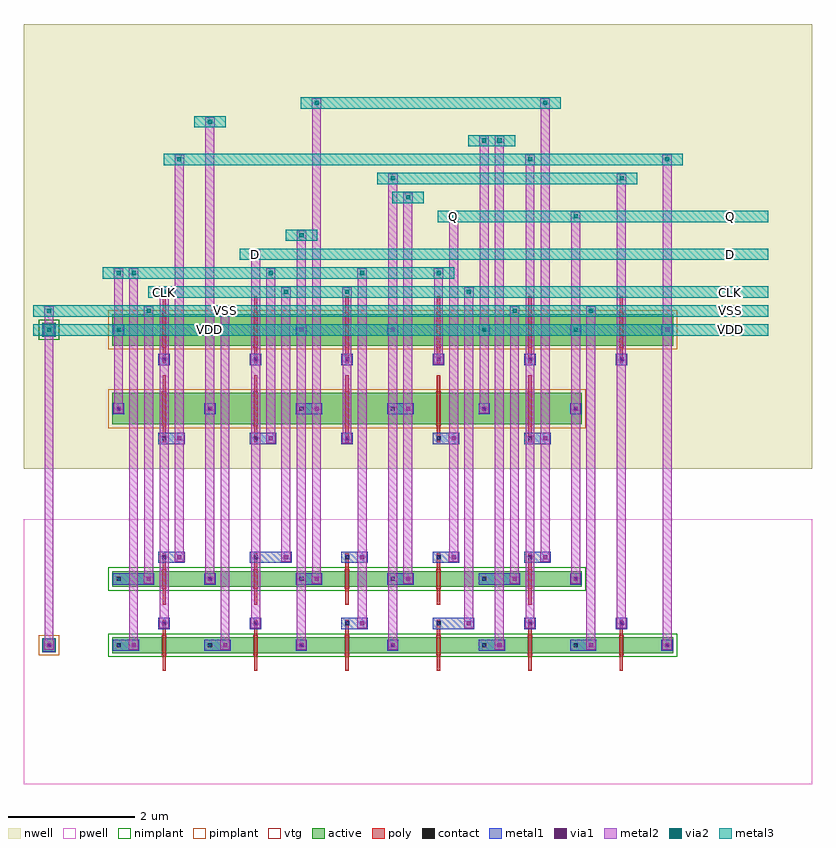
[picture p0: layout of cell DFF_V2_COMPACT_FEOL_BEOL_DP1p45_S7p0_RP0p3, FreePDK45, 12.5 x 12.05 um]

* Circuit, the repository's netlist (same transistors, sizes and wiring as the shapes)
* cell DFF_V2_COMPACT_FEOL_BEOL_DP1p45_S7p0_RP0p3
* pin CLK
* pin D
* pin Q,VDD,VSS
.SUBCKT DFF_V2_COMPACT_FEOL_BEOL_DP1p45_S7p0_RP0p3 2 3 8
* net 2 CLK
* net 3 D
* net 8 Q,VDD,VSS
* device instance $1 r0 *1 1.925,7 PMOS_VTG
M$1 8 2 8 8 PMOS_VTG L=0.05U W=0.5U AS=0.4P AD=0.35P PS=2.6U PD=1.9U
* device instance $2 r0 *1 3.375,7 PMOS_VTG
M$2 1 3 8 8 PMOS_VTG L=0.05U W=0.5U AS=0.35P AD=0.35P PS=1.9U PD=1.9U
* device instance $3 r0 *1 4.825,7 PMOS_VTG
M$3 4 2 1 8 PMOS_VTG L=0.05U W=0.5U AS=0.35P AD=0.35P PS=1.9U PD=1.9U
* device instance $4 r0 *1 6.275,7 PMOS_VTG
M$4 8 8 4 8 PMOS_VTG L=0.05U W=0.5U AS=0.35P AD=0.35P PS=1.9U PD=1.9U
* device instance $5 r0 *1 7.725,7 PMOS_VTG
M$5 8 7 8 8 PMOS_VTG L=0.05U W=1U AS=0.75P AD=0.7P PS=4.5U PD=3.8U
* device instance $6 r0 *1 9.175,7 PMOS_VTG
M$6 7 4 8 8 PMOS_VTG L=0.05U W=0.5U AS=0.35P AD=0.4P PS=1.9U PD=2.6U
* device instance $8 r0 *1 3.375,5.75 PMOS_VTG
M$8 5 8 8 8 PMOS_VTG L=0.05U W=0.5U AS=0.35P AD=0.35P PS=1.9U PD=1.9U
* device instance $9 r0 *1 4.825,5.75 PMOS_VTG
M$9 6 2 5 8 PMOS_VTG L=0.05U W=0.5U AS=0.35P AD=0.35P PS=1.9U PD=1.9U
* device instance $10 r0 *1 6.275,5.75 PMOS_VTG
M$10 8 8 6 8 PMOS_VTG L=0.05U W=0.5U AS=0.35P AD=0.35P PS=1.9U PD=1.9U
* device instance $11 r0 *1 7.725,5.75 PMOS_VTG
M$11 8 5 8 8 PMOS_VTG L=0.05U W=0.5U AS=0.35P AD=0.4P PS=1.9U PD=2.6U
* device instance $12 r0 *1 1.925,2 NMOS_VTG
M$12 8 2 8 8 NMOS_VTG L=0.05U W=0.25U AS=0.2P AD=0.175P PS=2.1U PD=1.65U
* device instance $13 r0 *1 3.375,2 NMOS_VTG
M$13 1 3 8 8 NMOS_VTG L=0.05U W=0.25U AS=0.175P AD=0.175P PS=1.65U PD=1.65U
* device instance $14 r0 *1 4.825,2 NMOS_VTG
M$14 4 8 1 8 NMOS_VTG L=0.05U W=0.25U AS=0.175P AD=0.175P PS=1.65U PD=1.65U
* device instance $15 r0 *1 6.275,2 NMOS_VTG
M$15 8 2 4 8 NMOS_VTG L=0.05U W=0.25U AS=0.175P AD=0.175P PS=1.65U PD=1.65U
* device instance $16 r0 *1 7.725,2 NMOS_VTG
M$16 8 7 8 8 NMOS_VTG L=0.05U W=0.5U AS=0.375P AD=0.35P PS=3.75U PD=3.3U
* device instance $17 r0 *1 9.175,2 NMOS_VTG
M$17 7 4 8 8 NMOS_VTG L=0.05U W=0.25U AS=0.175P AD=0.2P PS=1.65U PD=2.1U
* device instance $19 r0 *1 3.375,3.05 NMOS_VTG
M$19 5 2 8 8 NMOS_VTG L=0.05U W=0.25U AS=0.175P AD=0.175P PS=1.65U PD=1.65U
* device instance $20 r0 *1 4.825,3.05 NMOS_VTG
M$20 6 8 5 8 NMOS_VTG L=0.05U W=0.25U AS=0.175P AD=0.175P PS=1.65U PD=1.65U
* device instance $21 r0 *1 6.275,3.05 NMOS_VTG
M$21 8 8 6 8 NMOS_VTG L=0.05U W=0.25U AS=0.175P AD=0.175P PS=1.65U PD=1.65U
* device instance $22 r0 *1 7.725,3.05 NMOS_VTG
M$22 8 5 8 8 NMOS_VTG L=0.05U W=0.25U AS=0.175P AD=0.2P PS=1.65U PD=2.1U
.ENDS DFF_V2_COMPACT_FEOL_BEOL_DP1p45_S7p0_RP0p3

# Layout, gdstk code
import gdstk
lib = gdstk.Library(unit=1e-6, precision=5e-10)
def R(c, l, rs):  # rectangles x0, y0, x1, y1
    for r in rs: c.add(gdstk.rectangle(r[:2], r[2:], *l))
def A(c, l, x, y, w, h, nx, ny, dx, dy):  # array of equal rectangles
    R(c, l, [(x+i*dx, y+j*dy, x+i*dx+w, y+j*dy+h) for i in range(nx) for j in range(ny)])
def P(c, l, *ps):  # polygons
    for p in ps: c.add(gdstk.Polygon(p, *l))
active = (1, 0)
pwell = (2, 0)
nwell = (3, 0)
nimplant = (4, 0)
pimplant = (5, 0)
vtg = (6, 0)
poly = (9, 0)
contact = (10, 0)
metal1 = (11, 0)
via1 = (12, 0)
metal2 = (13, 0)
via2 = (14, 0)
metal3 = (15, 0)

dff_v2_compact_feol_beol = lib.new_cell('DFF_V2_COMPACT_FEOL_BEOL_DP1p45_S7p0_RP0p3')
R(dff_v2_compact_feol_beol, active, [(1.1,1.875,10,2.125), (-0.01,1.89,0.21,2.11), (1.1,2.925,8.55,3.175), (1.1,5.5,8.55,6), (1.1,6.75,10,7.25), (-0.01,6.89,0.21,7.11)])
R(dff_v2_compact_feol_beol, pwell, [(-0.3,-0.2,12.2,4)])
R(dff_v2_compact_feol_beol, nwell, [(-0.3,4.8,12.2,11.85)])
R(dff_v2_compact_feol_beol, nimplant, [(1.04,1.815,10.06,2.185), (1.04,2.865,8.61,3.235), (-0.06,6.84,0.26,7.16)])
R(dff_v2_compact_feol_beol, pimplant, [(-0.06,1.84,0.26,2.16), (1.04,5.44,8.61,6.06), (1.04,6.69,10.06,7.31)])
A(dff_v2_compact_feol_beol, vtg, 1.89, 1.845, 0.07, 0.31, 6, 1, 1.45, 0)
A(dff_v2_compact_feol_beol, vtg, 1.89, 2.895, 0.07, 0.31, 5, 1, 1.45, 0)
A(dff_v2_compact_feol_beol, vtg, 1.89, 5.47, 0.07, 0.56, 5, 1, 1.45, 0)
A(dff_v2_compact_feol_beol, vtg, 1.89, 6.72, 0.07, 0.56, 6, 1, 1.45, 0)
A(dff_v2_compact_feol_beol, poly, 1.9, 1.595, 0.05, 0.81, 6, 1, 1.45, 0)
A(dff_v2_compact_feol_beol, poly, 1.9, 2.645, 0.05, 0.81, 5, 1, 1.45, 0)
A(dff_v2_compact_feol_beol, poly, 1.9, 5.22, 0.05, 1.06, 5, 1, 1.45, 0)
A(dff_v2_compact_feol_beol, poly, 1.9, 6.47, 0.05, 1.06, 6, 1, 1.45, 0)
A(dff_v2_compact_feol_beol, contact, 1.17, 1.97, 0.065, 0.065, 7, 2, 1.45, 5)
A(dff_v2_compact_feol_beol, contact, 1.895, 2.315, 0.065, 0.065, 6, 2, 1.45, 4.185)
A(dff_v2_compact_feol_beol, contact, 1.17, 3.02, 0.065, 0.065, 6, 2, 1.45, 2.7)
A(dff_v2_compact_feol_beol, contact, 1.895, 3.365, 0.065, 0.065, 5, 2, 1.45, 1.885)
R(dff_v2_compact_feol_beol, contact, [(0.07,1.97,0.135,2.035), (0.07,6.97,0.135,7.035)])
A(dff_v2_compact_feol_beol, metal1, 4.825, 3.305, 0.24, 0.18, 3, 1, 1.45, 0)
R(dff_v2_compact_feol_beol, metal1, [(0,1.9,0.2,2.1), (0.01,1.91,0.19,2.09), (1.11,1.91,1.29,2.09), (1.2,1.91,1.44,2.09), (1.35,1.91,1.53,2.09), (2.56,1.91,2.74,2.09), (2.65,1.91,2.89,2.09), (2.8,1.91,2.98,2.09), (4.01,1.91,4.19,2.09), (4.01,1.91,4.19,2.09), (5.46,1.91,5.64,2.09), (5.46,1.91,5.64,2.09), (6.91,1.91,7.09,2.09), (7,1.91,7.24,2.09), (7.15,1.91,7.33,2.09), (8.36,1.91,8.54,2.09), (8.45,1.91,8.69,2.09), (8.6,1.91,8.78,2.09), (9.81,1.91,9.99,2.09), (9.81,1.91,9.99,2.09), (1.835,2.255,2.015,2.435), (1.835,2.255,2.015,2.435), (3.285,2.255,3.465,2.435), (3.285,2.255,3.465,2.435), (4.735,2.255,4.915,2.435), (4.825,2.255,5.065,2.435), (4.975,2.255,5.155,2.435), (6.185,2.255,6.365,2.435), (6.275,2.255,6.755,2.435), (6.665,2.255,6.845,2.435), (7.635,2.255,7.815,2.435), (7.635,2.255,7.815,2.435), (9.085,2.255,9.265,2.435), (9.085,2.255,9.265,2.435), (1.11,2.96,1.29,3.14), (1.2,2.96,1.68,3.14), (1.59,2.96,1.77,3.14), (2.56,2.96,2.74,3.14), (2.56,2.96,2.74,3.14), (4.01,2.96,4.19,3.14), (4.1,2.96,4.34,3.14), (4.25,2.96,4.43,3.14), (5.46,2.96,5.64,3.14), (5.55,2.96,5.79,3.14), (5.7,2.96,5.88,3.14), (6.91,2.96,7.09,3.14), (7,2.96,7.48,3.14), (7.39,2.96,7.57,3.14), (8.36,2.96,8.54,3.14), (8.36,2.96,8.54,3.14), (1.835,3.305,2.015,3.485), (1.925,3.305,2.165,3.485), (2.075,3.305,2.255,3.485), (3.285,3.305,3.465,3.485), (3.375,3.305,3.855,3.485), (3.765,3.305,3.945,3.485), (4.735,3.305,4.915,3.485), (4.975,3.305,5.155,3.485), (6.185,3.305,6.365,3.485), (6.425,3.305,6.605,3.485), (7.635,3.305,7.815,3.485), (7.875,3.305,8.055,3.485), (1.835,5.19,2.015,5.37), (1.925,5.19,2.165,5.37), (2.075,5.19,2.255,5.37), (3.285,5.19,3.465,5.37), (3.375,5.19,3.615,5.37), (3.525,5.19,3.705,5.37), (4.735,5.19,4.915,5.37), (4.735,5.19,4.915,5.37), (6.185,5.19,6.365,5.37), (6.275,5.19,6.515,5.37), (6.425,5.19,6.605,5.37), (7.635,5.19,7.815,5.37), (7.725,5.19,7.965,5.37), (7.875,5.19,8.055,5.37), (1.11,5.66,1.29,5.84), (1.11,5.66,1.29,5.84), (2.56,5.66,2.74,5.84), (2.56,5.66,2.74,5.84), (4.01,5.66,4.19,5.84), (4.1,5.66,4.34,5.84), (4.25,5.66,4.43,5.84), (5.46,5.66,5.64,5.84), (5.55,5.66,5.79,5.84), (5.7,5.66,5.88,5.84), (6.91,5.66,7.09,5.84), (6.91,5.66,7.09,5.84), (8.36,5.66,8.54,5.84), (8.36,5.66,8.54,5.84), (1.835,6.44,2.015,6.62), (1.835,6.44,2.015,6.62), (3.285,6.44,3.465,6.62), (3.285,6.44,3.465,6.62), (4.735,6.44,4.915,6.62), (4.735,6.44,4.915,6.62), (6.185,6.44,6.365,6.62), (6.185,6.44,6.365,6.62), (7.635,6.44,7.815,6.62), (7.635,6.44,7.815,6.62), (9.085,6.44,9.265,6.62), (9.085,6.44,9.265,6.62), (0,6.9,0.2,7.1), (0.01,6.91,0.19,7.09), (1.11,6.91,1.29,7.09), (1.11,6.91,1.29,7.09), (2.56,6.91,2.74,7.09), (2.56,6.91,2.74,7.09), (4.01,6.91,4.19,7.09), (4.01,6.91,4.19,7.09), (5.46,6.91,5.64,7.09), (5.46,6.91,5.64,7.09), (6.91,6.91,7.09,7.09), (6.91,6.91,7.09,7.09), (8.36,6.91,8.54,7.09), (8.36,6.91,8.54,7.09), (9.81,6.91,9.99,7.09), (9.81,6.91,9.99,7.09)])
A(dff_v2_compact_feol_beol, via1, 3.345, 2.315, 0.065, 0.065, 3, 1, 1.69, 0)
A(dff_v2_compact_feol_beol, via1, 5.035, 3.365, 0.065, 0.065, 3, 1, 1.45, 0)
A(dff_v2_compact_feol_beol, via1, 1.895, 6.5, 0.065, 0.065, 6, 1, 1.45, 0)
A(dff_v2_compact_feol_beol, via1, 1.17, 6.97, 0.065, 0.065, 7, 1, 1.45, 0)
R(dff_v2_compact_feol_beol, via1, [(0.07,1.97,0.135,2.035), (1.41,1.97,1.475,2.035), (2.86,1.97,2.925,2.035), (4.07,1.97,4.135,2.035), (5.52,1.97,5.585,2.035), (7.21,1.97,7.275,2.035), (8.66,1.97,8.725,2.035), (9.87,1.97,9.935,2.035), (1.895,2.315,1.96,2.38), (7.695,2.315,7.76,2.38), (9.145,2.315,9.21,2.38), (1.65,3.02,1.715,3.085), (2.62,3.02,2.685,3.085), (4.31,3.02,4.375,3.085), (5.76,3.02,5.825,3.085), (7.45,3.02,7.515,3.085), (8.42,3.02,8.485,3.085), (2.135,3.365,2.2,3.43), (3.825,3.365,3.89,3.43), (2.135,5.25,2.2,5.315), (3.585,5.25,3.65,5.315), (4.795,5.25,4.86,5.315), (6.485,5.25,6.55,5.315), (7.935,5.25,8,5.315), (1.17,5.72,1.235,5.785), (2.62,5.72,2.685,5.785), (4.31,5.72,4.375,5.785), (5.76,5.72,5.825,5.785), (6.97,5.72,7.035,5.785), (8.42,5.72,8.485,5.785), (0.07,6.97,0.135,7.035)])
A(dff_v2_compact_feol_beol, metal2, 3.3, 2.27, 0.15, 0.15, 3, 1, 1.69, 0)
A(dff_v2_compact_feol_beol, metal2, 4.99, 3.32, 0.15, 0.15, 3, 1, 1.45, 0)
A(dff_v2_compact_feol_beol, metal2, 1.85, 6.455, 0.15, 0.15, 6, 1, 1.45, 0)
A(dff_v2_compact_feol_beol, metal2, 2.575, 6.925, 0.15, 0.15, 4, 1, 1.45, 0)
R(dff_v2_compact_feol_beol, metal2, [(0.025,1.925,0.175,2.075), (1.365,1.925,1.515,2.075), (2.815,1.925,2.965,2.075), (4.025,1.925,4.175,2.075), (5.475,1.925,5.625,2.075), (7.165,1.925,7.315,2.075), (8.615,1.925,8.765,2.075), (9.825,1.925,9.975,2.075), (0.03,2,0.17,7.3), (1.37,2,1.51,7.9), (2.82,2,2.96,7.3), (4.03,2,4.17,8.5), (5.48,2,5.62,9.4), (7.17,2,7.31,10), (8.62,2,8.76,7.3), (9.83,2,9.97,9.7), (1.85,2.27,2,2.42), (7.65,2.27,7.8,2.42), (9.1,2.27,9.25,2.42), (1.855,2.345,1.995,7.6), (3.305,2.345,3.445,8.2), (4.995,2.345,5.135,7.9), (6.685,2.345,6.825,7.6), (7.655,2.345,7.795,9.7), (9.105,2.345,9.245,9.4), (1.605,2.975,1.755,3.125), (2.575,2.975,2.725,3.125), (4.265,2.975,4.415,3.125), (5.715,2.975,5.865,3.125), (7.405,2.975,7.555,3.125), (8.375,2.975,8.525,3.125), (1.61,3.05,1.75,7.3), (2.58,3.05,2.72,10.3), (4.27,3.05,4.41,10.6), (5.72,3.05,5.86,9.1), (7.41,3.05,7.55,7.3), (8.38,3.05,8.52,8.8), (2.09,3.32,2.24,3.47), (3.78,3.32,3.93,3.47), (2.095,3.395,2.235,9.7), (3.785,3.395,3.925,7.6), (4.995,3.395,5.135,7.9), (6.445,3.395,6.585,8.8), (7.895,3.395,8.035,10.6), (2.09,5.205,2.24,5.355), (3.54,5.205,3.69,5.355), (4.75,5.205,4.9,5.355), (6.44,5.205,6.59,5.355), (7.89,5.205,8.04,5.355), (2.095,5.28,2.235,9.7), (3.545,5.28,3.685,7.9), (4.755,5.28,4.895,7.6), (6.445,5.28,6.585,8.8), (7.895,5.28,8.035,10.6), (1.125,5.675,1.275,5.825), (2.575,5.675,2.725,5.825), (4.265,5.675,4.415,5.825), (5.715,5.675,5.865,5.825), (6.925,5.675,7.075,5.825), (8.375,5.675,8.525,5.825), (1.13,5.75,1.27,7), (2.58,5.75,2.72,10.3), (4.27,5.75,4.41,10.6), (5.72,5.75,5.86,9.1), (6.93,5.75,7.07,7), (8.38,5.75,8.52,8.8), (1.855,6.53,1.995,7.6), (3.305,6.53,3.445,8.2), (4.755,6.53,4.895,7.6), (6.205,6.53,6.345,7.9), (7.655,6.53,7.795,9.7), (9.105,6.53,9.245,9.4), (0.025,6.925,0.175,7.075), (0.025,6.925,0.175,7.075), (1.125,6.925,1.275,7.075), (1.125,6.925,1.275,7.075), (2.575,6.925,2.725,7.075), (6.925,6.925,7.075,7.075), (8.375,6.925,8.525,7.075), (8.375,6.925,8.525,7.075), (9.825,6.925,9.975,7.075), (1.13,7,1.27,7.9), (4.03,7,4.17,8.5), (5.48,7,5.62,9.4), (6.93,7,7.07,10), (9.83,7,9.97,9.7), (0.025,7.225,0.175,7.375), (1.605,7.225,1.755,7.375), (2.815,7.225,2.965,7.375), (7.405,7.225,7.555,7.375), (8.615,7.225,8.765,7.375), (1.85,7.525,2,7.675), (1.85,7.525,2,7.675), (3.78,7.525,3.93,7.675), (4.75,7.525,4.9,7.675), (4.75,7.525,4.9,7.675), (6.68,7.525,6.83,7.675), (1.125,7.825,1.275,7.975), (1.365,7.825,1.515,7.975), (3.54,7.825,3.69,7.975), (4.99,7.825,5.14,7.975), (4.99,7.825,5.14,7.975), (6.2,7.825,6.35,7.975), (3.3,8.125,3.45,8.275), (3.3,8.125,3.45,8.275), (4.025,8.425,4.175,8.575), (4.025,8.425,4.175,8.575), (6.44,8.725,6.59,8.875), (6.44,8.725,6.59,8.875), (8.375,8.725,8.525,8.875), (8.375,8.725,8.525,8.875), (5.715,9.025,5.865,9.175), (5.715,9.025,5.865,9.175), (5.475,9.325,5.625,9.475), (5.475,9.325,5.625,9.475), (9.1,9.325,9.25,9.475), (9.1,9.325,9.25,9.475), (2.09,9.625,2.24,9.775), (2.09,9.625,2.24,9.775), (7.65,9.625,7.8,9.775), (7.65,9.625,7.8,9.775), (9.825,9.625,9.975,9.775), (9.825,9.625,9.975,9.775), (6.925,9.925,7.075,10.075), (7.165,9.925,7.315,10.075), (2.575,10.225,2.725,10.375), (2.575,10.225,2.725,10.375), (4.265,10.525,4.415,10.675), (4.265,10.525,4.415,10.675), (7.89,10.525,8.04,10.675), (7.89,10.525,8.04,10.675)])
P(dff_v2_compact_feol_beol, metal2, [(2.58,7),(2.72,7),(2.72,7),(2.58,7)],
  [(8.38,7),(8.52,7),(8.52,7),(8.38,7)],
  [(0.03,7),(0.17,7),(0.17,7),(0.03,7)])
R(dff_v2_compact_feol_beol, via2, [(0.07,6.97,0.135,7.035), (1.17,6.97,1.235,7.035), (2.62,6.97,2.685,7.035), (6.97,6.97,7.035,7.035), (8.42,6.97,8.485,7.035), (0.07,7.27,0.135,7.335), (1.65,7.27,1.715,7.335), (2.86,7.27,2.925,7.335), (7.45,7.27,7.515,7.335), (8.66,7.27,8.725,7.335), (1.895,7.57,1.96,7.635), (1.895,7.57,1.96,7.635), (3.825,7.57,3.89,7.635), (4.795,7.57,4.86,7.635), (4.795,7.57,4.86,7.635), (6.725,7.57,6.79,7.635), (1.17,7.87,1.235,7.935), (1.41,7.87,1.475,7.935), (3.585,7.87,3.65,7.935), (5.035,7.87,5.1,7.935), (5.035,7.87,5.1,7.935), (6.245,7.87,6.31,7.935), (3.345,8.17,3.41,8.235), (3.345,8.17,3.41,8.235), (4.07,8.47,4.135,8.535), (4.07,8.47,4.135,8.535), (6.485,8.77,6.55,8.835), (6.485,8.77,6.55,8.835), (8.42,8.77,8.485,8.835), (8.42,8.77,8.485,8.835), (5.76,9.07,5.825,9.135), (5.76,9.07,5.825,9.135), (5.52,9.37,5.585,9.435), (5.52,9.37,5.585,9.435), (9.145,9.37,9.21,9.435), (9.145,9.37,9.21,9.435), (2.135,9.67,2.2,9.735), (2.135,9.67,2.2,9.735), (7.695,9.67,7.76,9.735), (7.695,9.67,7.76,9.735), (9.87,9.67,9.935,9.735), (9.87,9.67,9.935,9.735), (6.97,9.97,7.035,10.035), (7.21,9.97,7.275,10.035), (2.62,10.27,2.685,10.335), (2.62,10.27,2.685,10.335), (4.31,10.57,4.375,10.635), (4.31,10.57,4.375,10.635), (7.935,10.57,8,10.635), (7.935,10.57,8,10.635)])
R(dff_v2_compact_feol_beol, metal3, [(-0.15,6.91,8.7,7.09), (8.7,6.91,11.5,7.09), (0.025,6.925,0.175,7.075), (1.125,6.925,1.275,7.075), (2.575,6.925,2.725,7.075), (6.925,6.925,7.075,7.075), (8.375,6.925,8.525,7.075), (-0.15,7.21,8.94,7.39), (8.94,7.21,11.5,7.39), (0.025,7.225,0.175,7.375), (1.605,7.225,1.755,7.375), (2.815,7.225,2.965,7.375), (7.405,7.225,7.555,7.375), (8.615,7.225,8.765,7.375), (1.675,7.51,7.005,7.69), (7.005,7.51,11.5,7.69), (1.85,7.525,2,7.675), (1.85,7.525,2,7.675), (3.78,7.525,3.93,7.675), (4.75,7.525,4.9,7.675), (4.75,7.525,4.9,7.675), (6.68,7.525,6.83,7.675), (0.95,7.81,6.525,7.99), (1.125,7.825,1.275,7.975), (1.365,7.825,1.515,7.975), (3.54,7.825,3.69,7.975), (4.99,7.825,5.14,7.975), (4.99,7.825,5.14,7.975), (6.2,7.825,6.35,7.975), (3.125,8.11,3.625,8.29), (3.625,8.11,11.5,8.29), (3.3,8.125,3.45,8.275), (3.3,8.125,3.45,8.275), (3.85,8.41,4.35,8.59), (4.025,8.425,4.175,8.575), (4.025,8.425,4.175,8.575), (6.265,8.71,8.7,8.89), (8.7,8.71,11.5,8.89), (6.44,8.725,6.59,8.875), (6.44,8.725,6.59,8.875), (8.375,8.725,8.525,8.875), (8.375,8.725,8.525,8.875), (5.54,9.01,6.04,9.19), (5.715,9.025,5.865,9.175), (5.715,9.025,5.865,9.175), (5.3,9.31,9.425,9.49), (5.475,9.325,5.625,9.475), (5.475,9.325,5.625,9.475), (9.1,9.325,9.25,9.475), (9.1,9.325,9.25,9.475), (1.915,9.61,10.15,9.79), (2.09,9.625,2.24,9.775), (2.09,9.625,2.24,9.775), (7.65,9.625,7.8,9.775), (7.65,9.625,7.8,9.775), (9.825,9.625,9.975,9.775), (9.825,9.625,9.975,9.775), (6.75,9.91,7.49,10.09), (6.925,9.925,7.075,10.075), (7.165,9.925,7.315,10.075), (2.4,10.21,2.9,10.39), (2.575,10.225,2.725,10.375), (2.575,10.225,2.725,10.375), (4.09,10.51,8.215,10.69), (4.265,10.525,4.415,10.675), (4.265,10.525,4.415,10.675), (7.89,10.525,8.04,10.675), (7.89,10.525,8.04,10.675)])
dff_v2_compact_feol_beol.add(gdstk.Label('VDD', (10.9,7), layer=15, texttype=0))
dff_v2_compact_feol_beol.add(gdstk.Label('VDD', (10.9,7), layer=15, texttype=1))
dff_v2_compact_feol_beol.add(gdstk.Label('VDD', (10.9,7), layer=15, texttype=2))
dff_v2_compact_feol_beol.add(gdstk.Label('VDD', (2.65,7), layer=13, texttype=0))
dff_v2_compact_feol_beol.add(gdstk.Label('VDD', (2.65,7), layer=13, texttype=1))
dff_v2_compact_feol_beol.add(gdstk.Label('VDD', (2.65,7), layer=13, texttype=2))
dff_v2_compact_feol_beol.add(gdstk.Label('VSS', (10.9,7.3), layer=15, texttype=0))
dff_v2_compact_feol_beol.add(gdstk.Label('VSS', (10.9,7.3), layer=15, texttype=1))
dff_v2_compact_feol_beol.add(gdstk.Label('VSS', (10.9,7.3), layer=15, texttype=2))
dff_v2_compact_feol_beol.add(gdstk.Label('VSS', (2.89,7.3), layer=13, texttype=0))
dff_v2_compact_feol_beol.add(gdstk.Label('VSS', (2.89,7.3), layer=13, texttype=1))
dff_v2_compact_feol_beol.add(gdstk.Label('VSS', (2.89,7.3), layer=13, texttype=2))
dff_v2_compact_feol_beol.add(gdstk.Label('CLK', (10.9,7.6), layer=15, texttype=0))
dff_v2_compact_feol_beol.add(gdstk.Label('CLK', (10.9,7.6), layer=15, texttype=1))
dff_v2_compact_feol_beol.add(gdstk.Label('CLK', (10.9,7.6), layer=15, texttype=2))
dff_v2_compact_feol_beol.add(gdstk.Label('CLK', (1.925,7.6), layer=13, texttype=0))
dff_v2_compact_feol_beol.add(gdstk.Label('CLK', (1.925,7.6), layer=13, texttype=1))
dff_v2_compact_feol_beol.add(gdstk.Label('CLK', (1.925,7.6), layer=13, texttype=2))
dff_v2_compact_feol_beol.add(gdstk.Label('D', (10.9,8.2), layer=15, texttype=0))
dff_v2_compact_feol_beol.add(gdstk.Label('D', (10.9,8.2), layer=15, texttype=1))
dff_v2_compact_feol_beol.add(gdstk.Label('D', (10.9,8.2), layer=15, texttype=2))
dff_v2_compact_feol_beol.add(gdstk.Label('D', (3.375,8.2), layer=13, texttype=0))
dff_v2_compact_feol_beol.add(gdstk.Label('D', (3.375,8.2), layer=13, texttype=1))
dff_v2_compact_feol_beol.add(gdstk.Label('D', (3.375,8.2), layer=13, texttype=2))
dff_v2_compact_feol_beol.add(gdstk.Label('Q', (10.9,8.8), layer=15, texttype=0))
dff_v2_compact_feol_beol.add(gdstk.Label('Q', (10.9,8.8), layer=15, texttype=1))
dff_v2_compact_feol_beol.add(gdstk.Label('Q', (10.9,8.8), layer=15, texttype=2))
dff_v2_compact_feol_beol.add(gdstk.Label('Q', (6.515,8.8), layer=13, texttype=0))
dff_v2_compact_feol_beol.add(gdstk.Label('Q', (6.515,8.8), layer=13, texttype=1))
dff_v2_compact_feol_beol.add(gdstk.Label('Q', (6.515,8.8), layer=13, texttype=2))

lib.write_gds('DFF_V2_COMPACT_FEOL_BEOL_DP1p45_S7p0_RP0p3.gds')
